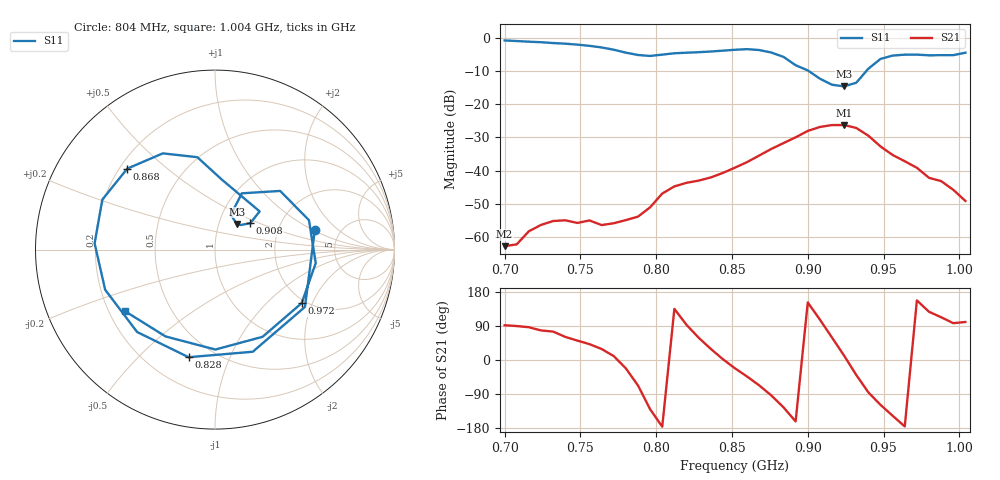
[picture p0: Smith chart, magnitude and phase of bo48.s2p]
# Hz S RI R 50
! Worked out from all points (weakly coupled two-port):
!   39 points, 700 MHz to 1.004 GHz, reference 50 ohm
!   highest |S21| = -26.23 dB at 924 MHz (marker M1); lowest = -62.9 dB at 700 MHz (marker M2)
!   lowest |S11| = -14.5 dB at 924 MHz (marker M3), VSWR 1.46, Z = 60.9 + j18 ohm
!   |S11| at or under -10 dB: 901 MHz to 938.5 MHz (37.49 MHz wide, 4.08 % of centre)
!   S12 and S22 are empty: the file has one direction only
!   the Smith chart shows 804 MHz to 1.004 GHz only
!   S11 on the Smith chart (normalised r, x): 804 MHz: 3.24, +1.05; 828 MHz: 0.37, -0.72; 868 MHz: 0.23, +0.37; 908 MHz: 1.41, +0.44; 972 MHz: 1.90, -1.67; 1.004 GHz: 0.27, -0.29
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7e8  0.7619 0.5321  -2.17e-05 0.000716  0 0  0 0
7.24e8  0.8342 -0.2615  0.000312 0.00147  0 0  0 0
7.4e8  0.4446 -0.702  0.000856 0.00154  0 0  0 0
7.56e8  -0.1973 -0.7447  0.00131 0.00117  0 0  0 0
7.72e8  -0.6489 -0.1788  0.00157 0.000286  0 0  0 0
7.8e8  -0.5598 0.2354  0.00165 -0.000671  0 0  0 0
7.88e8  -0.2025 0.5218  0.000779 -0.00185  0 0  0 0
7.96e8  0.2702 0.4692  -0.00178 -0.00213  0 0  0 0
8.04e8  0.5562 0.1102  -0.00447 -0.000313  0 0  0 0
8.2e8  0.2106 -0.5691  -0.000314 0.00651  0 0  0 0
8.28e8  -0.1473 -0.5996  0.00363 0.00602  0 0  0 0
8.52e8  -0.6707 0.0346  0.0102 -0.00414  0 0  0 0
8.68e8  -0.4891 0.4509  0.00656 -0.0155  0 0  0 0
8.84e8  -0.0984 0.5149  -0.0149 -0.0213  0 0  0 0
9e8  0.2486 0.213  -0.035 0.0187  0 0  0 0
9.08e8  0.1966 0.1471  -0.0131 0.0437  0 0  0 0
9.24e8  0.1214 0.143  0.0479 0.00959  0 0  0 0
9.4e8  0.1496 0.3137  0.0026 -0.0335  0 0  0 0
9.56e8  0.5236 0.1637  -0.0144 -0.00933  0 0  0 0
9.72e8  0.4828 -0.2982  -0.0101 0.00425  0 0  0 0
9.88e8  0.00211 -0.5567  -0.00269 0.00637  0 0  0 0
1.004e9  -0.4991 -0.3445  -0.00062 0.00341  0 0  0 0
